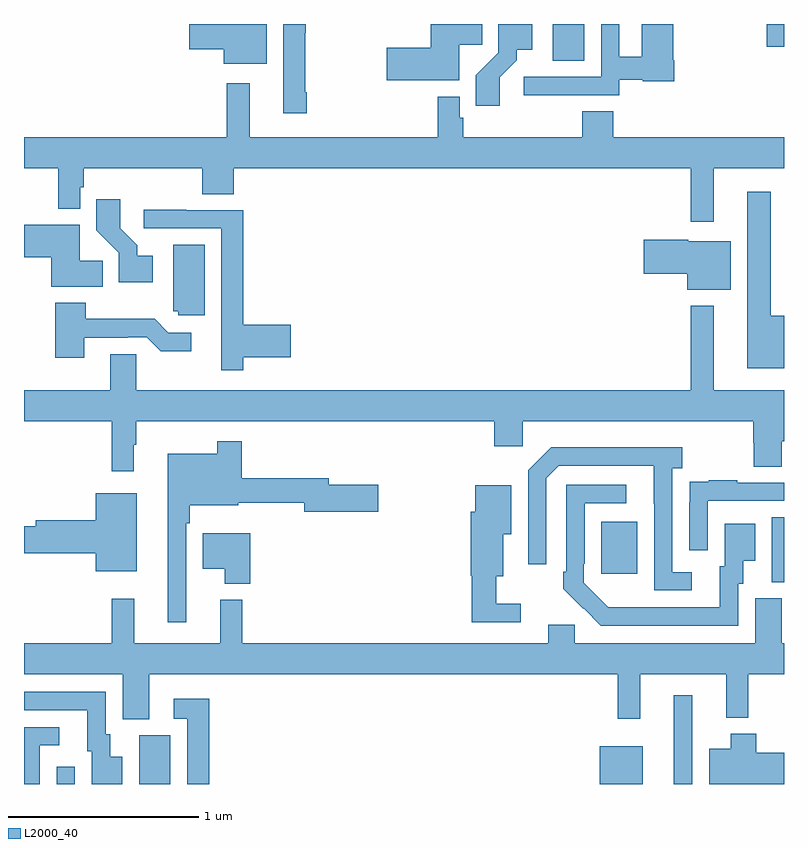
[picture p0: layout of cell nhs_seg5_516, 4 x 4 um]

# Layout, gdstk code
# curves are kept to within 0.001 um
import gdstk
lib = gdstk.Library(unit=1e-6, precision=1e-09)
def R(c, l, rs):  # rectangles x0, y0, x1, y1
    for r in rs: c.add(gdstk.rectangle(r[:2], r[2:], *l))
def P(c, l, *ps):  # polygons
    for p in ps: c.add(gdstk.Polygon(p, *l))
L2000_40 = (2000, 40)

nhs_seg5_516 = lib.new_cell('nhs_seg5_516')
R(nhs_seg5_516, L2000_40, [(143.172,906.799,143.268,906.889), (143.606,906.799,143.77,907.056), (146.03,906.799,146.257,906.997), (146.42,906.799,146.517,907.267), (146.936,907.861,147,908.204), (146.039,907.905,146.227,908.179), (145.784,910.606,145.948,910.799), (146.91,910.678,147,910.799)])
P(nhs_seg5_516, L2000_40, [(145.504,910.519),(145.594,910.609),(145.594,910.664),(145.675,910.664),(145.675,910.799),(145.497,910.799),(145.497,910.649),(145.378,910.53),(145.378,910.368),(145.504,910.368)],
  [(145.291,910.69),(145.412,910.69),(145.412,910.799),(145.142,910.799),(145.142,910.673),(144.909,910.673),(144.909,910.502),(145.291,910.502)],
  [(145.853,910.425),(146.133,910.425),(146.133,910.506),(146.256,910.506),(146.256,910.498),(146.423,910.498),(146.423,910.609),(146.418,910.609),(146.418,910.799),(146.252,910.799),(146.252,910.627),(146.133,910.627),(146.133,910.799),(146.037,910.799),(146.037,910.521),(145.629,910.521),(145.629,910.423),(145.853,910.423)],
  [(144.277,910.799),(143.871,910.799),(143.871,910.666),(144.05,910.666),(144.05,910.589),(144.277,910.589)],
  [(144.487,910.441),(144.479,910.441),(144.479,910.753),(144.484,910.753),(144.484,910.799),(144.365,910.799),(144.365,910.329),(144.487,910.329)],
  [(146.629,910.04),(147,910.04),(147,910.204),(146.102,910.204),(146.102,910.34),(145.937,910.34),(145.937,910.204),(145.313,910.204),(145.313,910.305),(145.293,910.305),(145.293,910.417),(145.177,910.417),(145.177,910.204),(144.187,910.204),(144.187,910.486),(144.066,910.486),(144.066,910.204),(143,910.204),(143,910.04),(143.179,910.04),(143.179,909.827),(143.295,909.827),(143.295,909.939),(143.315,909.939),(143.315,910.04),(143.939,910.04),(143.939,909.904),(144.104,909.904),(144.104,910.04),(146.508,910.04),(146.508,909.759),(146.629,909.759)],
  [(147,909.263),(146.929,909.263),(146.929,909.916),(146.807,909.916),(146.807,908.987),(147,908.987)],
  [(143.677,909.58),(143.596,909.58),(143.596,909.635),(143.506,909.725),(143.506,909.877),(143.38,909.877),(143.38,909.714),(143.499,909.595),(143.499,909.44),(143.677,909.44)],
  [(144.155,909.044),(144.403,909.044),(144.403,909.215),(144.155,909.215),(144.155,909.819),(143.855,909.819),(143.855,909.822),(143.631,909.822),(143.631,909.723),(144.039,909.723),(144.039,909.198),(144.038,909.198),(144.038,908.976),(144.155,908.976)],
  [(143.414,909.554),(143.293,909.554),(143.293,909.742),(143,909.742),(143,909.572),(143.144,909.572),(143.144,909.416),(143.414,909.416)],
  [(146.719,909.655),(146.496,909.655),(146.496,909.663),(146.262,909.663),(146.262,909.485),(146.492,909.485),(146.492,909.401),(146.719,909.401)],
  [(143.95,909.637),(143.786,909.637),(143.786,909.288),(143.811,909.288),(143.811,909.267),(143.95,909.267)],
  [(143.317,909.147),(143.546,909.147),(143.546,909.15),(143.646,909.15),(143.719,909.077),(143.881,909.077),(143.881,909.174),(143.76,909.174),(143.687,909.247),(143.325,909.247),(143.325,909.331),(143.165,909.331),(143.165,909.042),(143.317,909.042)],
  [(143.578,908.585),(143.59,908.585),(143.59,908.708),(145.475,908.708),(145.475,908.577),(145.626,908.577),(145.626,908.708),(146.837,908.708),(146.837,908.595),(146.842,908.595),(146.842,908.47),(146.989,908.47),(146.989,908.602),(147,908.602),(147,908.872),(146.629,908.872),(146.629,909.316),(146.508,909.316),(146.508,908.872),(143.592,908.872),(143.592,909.062),(143.453,909.062),(143.453,908.872),(143,908.872),(143,908.708),(143.461,908.708),(143.461,908.445),(143.578,908.445)],
  [(143.853,908.171),(143.873,908.171),(143.873,908.267),(144.127,908.267),(144.127,908.278),(144.476,908.278),(144.476,908.231),(144.865,908.231),(144.865,908.373),(144.604,908.373),(144.604,908.407),(144.146,908.407),(144.146,908.602),(144.018,908.602),(144.018,908.536),(143.756,908.536),(143.756,907.65),(143.853,907.65)],
  [(146.515,907.914),(146.412,907.914),(146.412,908.462),(146.464,908.462),(146.464,908.572),(145.774,908.572),(145.653,908.451),(145.653,907.956),(145.749,907.956),(145.749,908.409),(145.815,908.475),(146.315,908.475),(146.316,907.818),(146.515,907.818)],
  [(146.598,908.289),(147,908.289),(147,908.385),(146.753,908.385),(146.753,908.398),(146.605,908.398),(146.605,908.391),(146.503,908.391),(146.503,908.282),(146.502,908.282),(146.502,908.028),(146.598,908.028)],
  [(146.76,907.854),(146.785,907.854),(146.785,907.973),(146.848,907.973),(146.848,908.17),(146.687,908.17),(146.687,907.944),(146.663,907.944),(146.663,907.728),(146.076,907.729),(145.947,907.857),(145.947,907.957),(145.95,907.957),(145.95,908.277),(146.17,908.277),(146.17,908.373),(145.854,908.373),(145.854,907.915),(145.839,907.915),(145.839,907.827),(146.036,907.632),(146.76,907.632)],
  [(145.615,907.747),(145.486,907.747),(145.486,907.892),(145.522,907.892),(145.522,908.114),(145.564,908.114),(145.564,908.371),(145.376,908.371),(145.376,908.232),(145.352,908.232),(145.352,907.896),(145.357,907.896),(145.357,907.65),(145.615,907.65)],
  [(143.593,908.329),(143.378,908.329),(143.378,908.186),(143.063,908.186),(143.063,908.156),(143,908.156),(143,908.014),(143.378,908.014),(143.378,907.919),(143.593,907.919)],
  [(144.191,908.119),(143.942,908.119),(143.942,907.931),(144.056,907.931),(144.056,907.853),(144.191,907.853)],
  [(143.659,907.376),(146.125,907.376),(146.125,907.143),(146.243,907.143),(146.243,907.376),(146.696,907.376),(146.696,907.148),(146.813,907.148),(146.813,907.376),(147,907.376),(147,907.54),(146.989,907.54),(146.989,907.776),(146.849,907.776),(146.849,907.54),(145.899,907.54),(145.899,907.638),(145.76,907.638),(145.76,907.54),(144.149,907.54),(144.149,907.768),(144.032,907.768),(144.032,907.54),(143.579,907.54),(143.579,907.774),(143.461,907.774),(143.461,907.54),(143,907.54),(143,907.376),(143.519,907.376),(143.519,907.141),(143.659,907.141)],
  [(143.518,906.943),(143.455,906.943),(143.455,907.062),(143.43,907.062),(143.43,907.284),(143,907.284),(143,907.188),(143.333,907.188),(143.333,906.972),(143.357,906.972),(143.357,906.799),(143.518,906.799)],
  [(143.975,907.249),(143.787,907.249),(143.787,907.143),(143.859,907.143),(143.859,906.799),(143.975,906.799)],
  [(143.082,907.002),(143.185,907.002),(143.185,907.098),(143,907.098),(143,906.799),(143.082,906.799)],
  [(147,906.963),(146.855,906.963),(146.855,907.063),(146.72,907.063),(146.72,906.985),(146.606,906.985),(146.606,906.799),(147,906.799)])

lib.write_gds('nhs_seg5_516.gds')
